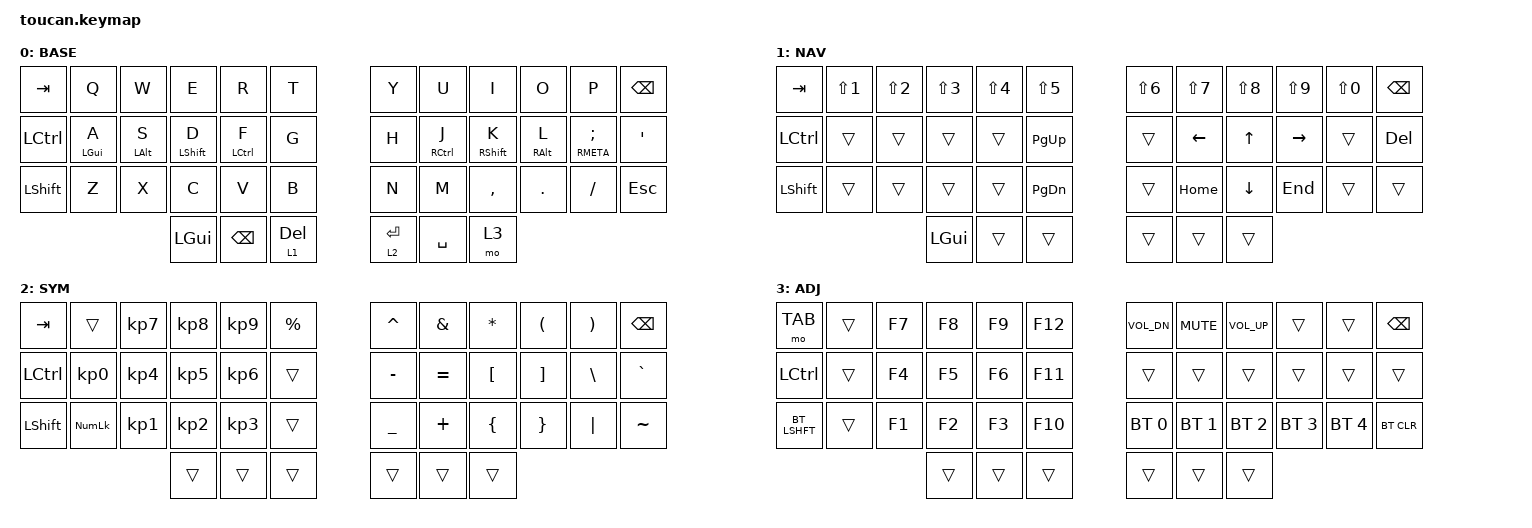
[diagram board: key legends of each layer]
#include <behaviors.dtsi>
#include <dt-bindings/zmk/keys.h>
#include <dt-bindings/zmk/bt.h>
#include <dt-bindings/zmk/outputs.h>

#define BASE 0
#define NAV  1
#define SYM  2
#define ADJ  3

/ {
    behaviors {
        hml: home_row_mod_left {
            compatible = "zmk,behavior-hold-tap";
            #binding-cells = <2>;
            flavor = "balanced";
            require-prior-idle-ms = <150>;
            tapping-term-ms = <280>;
            quick-tap-ms = <175>;
            bindings = <&kp>, <&kp>;

            hold-trigger-key-positions = <6 7 8 9 10 11 18 19 20 21 22 23 30 31 32 33 34 35 39 40 41>; // List of keys on the right side of the keyboard
            hold-trigger-on-release;
        };

        hmr: home_row_mod_right {
            compatible = "zmk,behavior-hold-tap";
            #binding-cells = <2>;
            flavor = "balanced";
            require-prior-idle-ms = <150>;
            tapping-term-ms = <280>;
            quick-tap-ms = <175>;
            bindings = <&kp>, <&kp>;

            hold-trigger-key-positions = <0 1 2 3 4 5 12 13 14 15 16 17 24 25 26 27 28 29 36 37 38>; // List of keys on the left side of the keyboard
            hold-trigger-on-release;
        };
    };

    keymap {
        compatible = "zmk,keymap";

        base {
            display-name = "BASE";
            bindings = <
&kp TAB    &kp Q        &kp W            &kp E         &kp R          &kp T           &kp Y        &kp U         &kp I         &kp O               &kp P                 &kp BSPC
&kp LCTRL  &hml LGUI A  &hml LEFT_ALT S  &hml LSHFT D  &hml LCTRL F   &kp G           &kp H        &hmr RCTRL J  &hmr RSHFT K  &hmr RIGHT_ALT L    &hmr RMETA SEMICOLON  &kp SQT
&kp LSHFT  &kp Z        &kp X            &kp C         &kp V          &kp B           &kp N        &kp M         &kp COMMA     &kp DOT             &kp FSLH              &kp ESC
                                         &kp LGUI      &kp BACKSPACE  &lt 1 DELETE    &lt 2 ENTER  &kp SPACE     &mo 3
            >;
        };

        nav {
            display-name = "NAV";
            bindings = <
&kp TAB     &kp LS(N1)     &kp LS(N2)  &kp LS(N3)  &kp LS(N4)  &kp LS(N5)       &kp LS(N6)  &kp LS(N7)  &kp LS(N8)      &kp LS(N9)  &kp LS(N0)  &kp BSPC
&kp LCTRL   &trans         &trans      &trans      &trans      &kp PAGE_UP      &trans      &kp LEFT    &kp UP          &kp RIGHT   &trans      &kp DELETE
&kp LSHFT   &trans         &trans      &trans      &trans      &kp PAGE_DOWN    &trans      &kp HOME    &kp DOWN_ARROW  &kp END     &trans      &trans
                                       &kp LGUI    &trans      &trans           &trans      &trans      &trans
            >;
        };

        sym {
            display-name = "SYM";
            bindings = <
&kp TAB    &trans           &kp KP_NUMBER_7  &kp KP_NUMBER_8  &kp KP_NUMBER_9  &kp PRCNT    &kp CARET  &kp AMPS   &kp ASTRK  &kp LPAR  &kp RPAR  &kp BSPC
&kp LCTRL  &kp KP_NUMBER_0  &kp KP_NUMBER_4  &kp KP_NUMBER_5  &kp KP_NUMBER_6  &trans       &kp MINUS  &kp EQUAL  &kp LBKT   &kp RBKT  &kp BSLH  &kp GRAVE
&kp LSHFT  &kp KP_NUMLOCK   &kp KP_NUMBER_1  &kp KP_NUMBER_2  &kp KP_NUMBER_3  &trans       &kp UNDER  &kp PLUS   &kp LBRC   &kp RBRC  &kp PIPE  &kp TILDE
                                             &trans           &trans           &trans       &trans     &trans     &trans
            >;
        };

        adj {
            display-name = "ADJ";
            bindings = <
                &mo TAB   &trans &kp F7 &kp F8 &kp F9 &kp F12   &kp C_VOL_DN &kp C_MUTE  &kp C_VOL_UP &trans &trans &kp BSPC
                &kp LCTRL &trans &kp F4 &kp F5 &kp F6 &kp F11   &trans       &trans      &trans       &trans &trans &trans
                &bt LSHFT &trans &kp F1 &kp F2 &kp F3 &kp F10   &bt BT_SEL 0  &bt BT_SEL 1  &bt BT_SEL 2  &bt BT_SEL 3  &bt BT_SEL 4  &bt BT_CLR
                                   &trans           &trans           &trans       &trans     &trans     &trans
            >;
        };
        extra_1 {
                status = "reserved";
        };

        extra_2 {
                status = "reserved";
        };

        extra_3 {
                status = "reserved";
        };
    };
};
